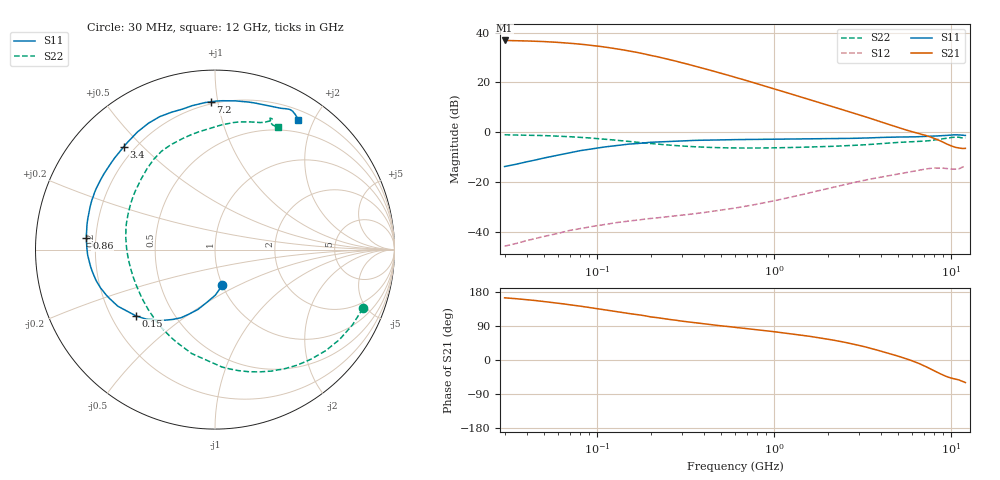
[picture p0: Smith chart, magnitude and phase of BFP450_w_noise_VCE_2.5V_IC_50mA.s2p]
! Infineon Technologies  Discrete & RF Semiconductors
! BFP450
! VCE =  2.5 V,  IC =  50 mA
! Common Emitter S-Parameters:  Nov 2015
# GHz  S  MA  R  50
!  f  S11  S21  S12  S22
! GHz  MAG  ANG  MAG  ANG  MAG  ANG  MAG  ANG
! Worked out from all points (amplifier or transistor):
!   239 points, 30 MHz to 12 GHz, reference 50 ohm
!   highest |S21| = 36.9 dB at 30 MHz (marker M1)
!   |S21| within 3 dB of that: start of sweep to 119.2 MHz
!   unconditionally stable (mu >= 1): 1.172 GHz to end of sweep
!   at 300 MHz: K = 0.54, MSG = 30.7 dB, |S12| = -33.4 dB
!   at 1.88 GHz: K = 1.08, MAG = 15.5 dB, |S12| = -23.1 dB
!   at 12 GHz: K = 1.09, MAG = 1.7 dB, |S12| = -13.6 dB
!   lowest NFmin = 1.55 dB at 450 MHz
!   S11 on the Smith chart (normalised r, x): 30 MHz: 1.00, -0.42; 150 MHz: 0.30, -0.33; 860 MHz: 0.16, +0.04; 3.4 GHz: 0.16, +0.44; 7.2 GHz: 0.19, +0.95; 12 GHz: 0.32, +1.79
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0.03  0.2037 -78.5  70.09 164.1  0.0051 78.3  0.8868 -21.7
0.04  0.2539 -89.6  68.47 159.2  0.0066 75.0  0.8733 -28.8
0.05  0.3024 -99.6  66.57 154.3  0.008 70.2  0.8559 -35.8
0.06  0.3473 -106.0  64.13 150.1  0.0092 68.5  0.8355 -42.3
0.07  0.3887 -112.1  61.6 145.7  0.0106 64.6  0.8124 -48.6
0.085  0.4393 -118.9  57.82 140.4  0.0119 61.6  0.7781 -57.2
0.11  0.5046 -128.7  51.77 132.5  0.0139 56.7  0.7252 -70.0
0.13  0.544 -134.5  47.3 127.2  0.0153 53.7  0.6873 -78.9
0.15  0.5746 -140.0  43.33 122.6  0.0163 51.4  0.6549 -86.7
0.2  0.6267 -149.8  35.16 113.8  0.0184 48.1  0.5936 -102.6
0.24  0.6475 -155.1  30.52 108.9  0.0197 47.1  0.5599 -112.1
0.3  0.6724 -161.5  25.01 102.6  0.0215 46.6  0.5281 -124.1
0.36  0.6858 -166.0  21.17 98.2  0.0231 46.9  0.5087 -132.8
0.45  0.698 -171.3  17.01 92.6  0.0256 48.0  0.4923 -143.2
0.6  0.7101 -177.5  12.72 86.0  0.0298 50.2  0.4822 -154.9
0.86  0.7193 175.0  8.748 78.1  0.0376 52.5  0.4819 -167.8
1.2  0.7286 167.4  6.087 70.0  0.0482 53.0  0.491 -179.3
1.64  0.7379 159.3  4.351 61.5  0.0622 51.2  0.505 169.9
3.4  0.7662 131.5  1.955 32.3  0.112 33.9  0.5643 137.9
4.5  0.7957 117.8  1.402 16.5  0.1346 22.8  0.6083 124.1
7.2  0.8237 91.6  0.856 -17.8  0.1824 -4.7  0.6668 95.8
12  0.8602 57.3  0.473 -59.5  0.2097 -41.0  0.7665 62.9
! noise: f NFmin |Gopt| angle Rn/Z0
0.45  1.55  0.54  -173  0.06
0.9  1.61  0.56  -168  0.07
1.9  1.71  0.6  -153  0.1
2.4  1.81  0.6  -144  0.14
